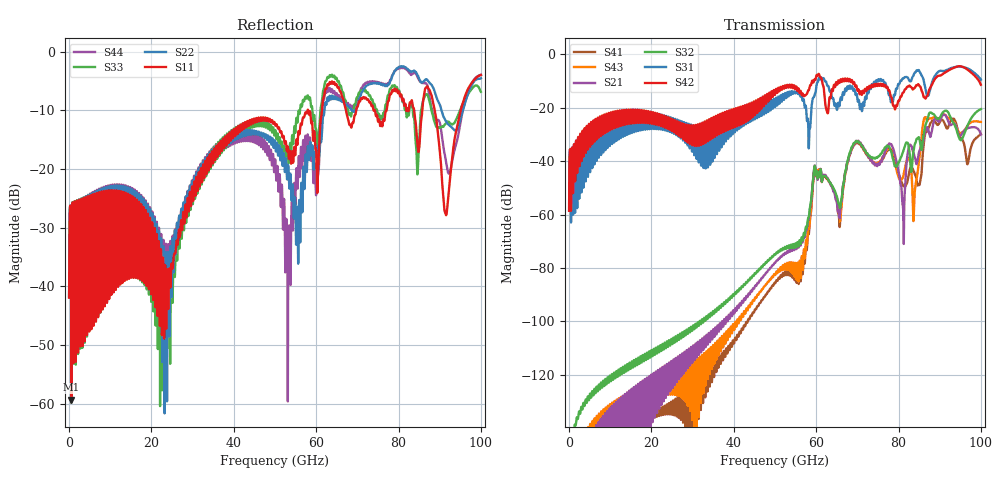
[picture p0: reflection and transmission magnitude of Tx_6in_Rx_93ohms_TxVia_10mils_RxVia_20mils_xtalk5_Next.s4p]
! Info: Touchstone file created by Circ.  Input file=Tx_6in_Rx_93ohms_TxVia_10mils_RxVia_20mils.circ
# Hz S RI R 50
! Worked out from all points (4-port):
!   10000 points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, 10 MHz to 100 GHz, reference 50 ohm
!   strongest paths, dB at 10 MHz, 25.01 GHz, 50.01 GHz, 75.01 GHz, 100 GHz:
!     S42: -58.6, -28.1, -15.2, -11.2, -11.4
!     S31: -58.6, -28.2, -19.8, -9.7, -9.5
!     S32: -177.8, -108.2, -75.0, -38.3, -20.5
!     S21: -, -120.2, -78.1, -41.1, -30.1
!     S43: -154.5, -122.6, -82.7, -40.5, -25.3
!     S41: -154.7, -134.8, -85.7, -40.9, -29.9
!   lowest |S11| = -59.3 dB at 540 MHz (marker M1), VSWR 1.00, Z = 49.9 + j0.00392 ohm
!   |S11| at or under -10 dB: start of sweep to 57.91 GHz; 58.05 GHz to 61.41 GHz (3.359 GHz wide, 5.62 % of centre); 88.79 GHz to 95.1 GHz (6.318 GHz wide, 6.87 % of centre)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
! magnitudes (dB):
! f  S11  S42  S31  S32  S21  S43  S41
! 10 MHz  -41.9  -58.6  -58.6  -177.8  -  -154.5  -154.7
! 540 MHz  -59.3  -42.4  -42.4  -148.1  -177.4  -180.5  -176.9
! 24.15 GHz  -41.8  -23.7  -23.4  -108.1  -118.5  -124.9  -131.5
! 55.87 GHz  -14.0  -13.9  -14.7  -70.5  -71.3  -81.4  -82.5
! 59.79 GHz  -16.4  -9.6  -14.5  -43.5  -43.5  -43.6  -43.8
! 83.79 GHz  -10.0  -12.7  -7.2  -34.7  -37.9  -55.5  -44.1
! 100 GHz  -4.0  -11.4  -9.5  -20.5  -30.1  -25.3  -29.9
